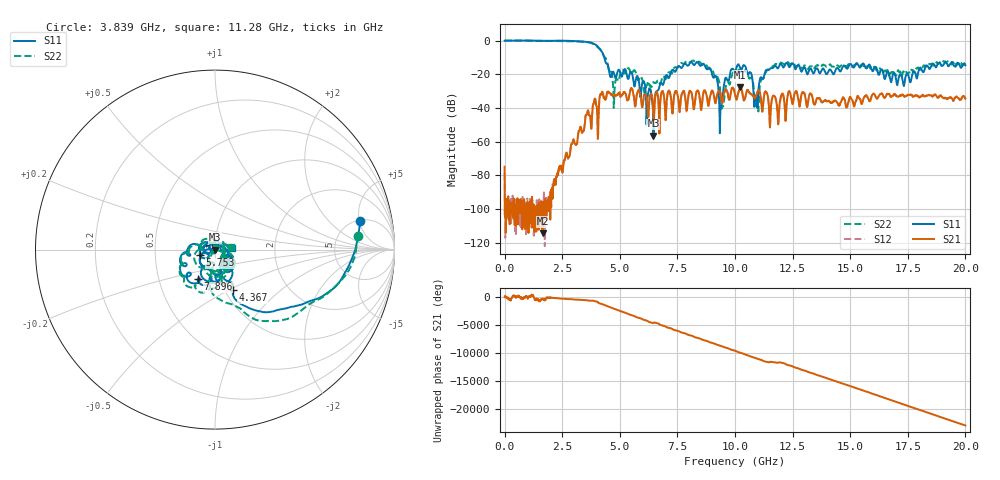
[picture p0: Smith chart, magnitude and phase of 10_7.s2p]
#  HZ  S  RI  R  50.00
! Rohde & Schwarz Vector Network Analyzer
! Rohde-Schwarz,ZNB20-2Port,1311601062102128,3.60
! Created: UTC 4/29/2024, 2:55:52 PM
! freq[Hz]  re:S11  im:S11  re:S21  im:S21  re:S12  im:S12  re:S22  im:S22
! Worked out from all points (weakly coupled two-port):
!   2007 points, 100 kHz to 20 GHz, reference 50 ohm
!   highest |S21| = -27.74 dB at 10.22 GHz (marker M1); lowest = -114.2 dB at 1.645 GHz (marker M2)
!   lowest |S11| = -56.5 dB at 6.461 GHz (marker M3), VSWR 1.00, Z = 50.1 + j0.0286 ohm
!   |S11| at or under -10 dB: 4.326 GHz to end of sweep
!   |S22| runs from -42.0 to 0.1 dB; largest |S21 - S12| = 0.0031
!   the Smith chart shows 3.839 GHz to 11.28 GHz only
!   S11 on the Smith chart (normalised r, x): 3.839 GHz: 5.16, +5.19; 4.367 GHz: 1.08, -0.52; 5.753 GHz: 0.85, -0.05; 7.896 GHz: 0.78, -0.27; 11.28 GHz: 1.22, +0.02
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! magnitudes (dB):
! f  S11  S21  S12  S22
! 100 kHz  0.0  -74.8  -78.7  0.1
! 1.645 GHz  -0.1  -114.2  -103.3  -0.1
! 2.233 GHz  0.0  -81.2  -81.2  -0.3
! 3.34 GHz  -0.6  -53.9  -53.6  -0.6
! 3.839 GHz  -1.7  -38.2  -37.7  -1.9
! 4.367 GHz  -12.1  -35.1  -34.9  -10.1
! 4.776 GHz  -20.8  -32.4  -32.2  -28.4
! 5.753 GHz  -21.0  -31.3  -31.4  -22.7
! 6.461 GHz  -56.5  -45.4  -45.8  -24.7
! 6.67 GHz  -29.2  -35.1  -35.2  -23.6
! 7.896 GHz  -14.4  -41.7  -42.0  -12.1
! 8.903 GHz  -16.2  -33.8  -34.0  -16.9
! 9.392 GHz  -39.0  -33.3  -33.3  -35.9
! 9.591 GHz  -22.0  -28.8  -28.7  -27.8
! 10 GHz  -18.7  -31.6  -31.7  -19.6
! 10.22 GHz  -15.9  -27.7  -27.7  -17.0
! 10.68 GHz  -18.9  -31.5  -31.5  -22.0
! 10.91 GHz  -33.1  -32.8  -32.8  -35.4
! 11.28 GHz  -20.2  -31.5  -31.6  -21.1
! 13.34 GHz  -18.0  -32.7  -32.8  -15.2
! 16.67 GHz  -19.1  -31.6  -31.8  -20.5
! 20 GHz  -14.6  -34.5  -34.7  -14.4
